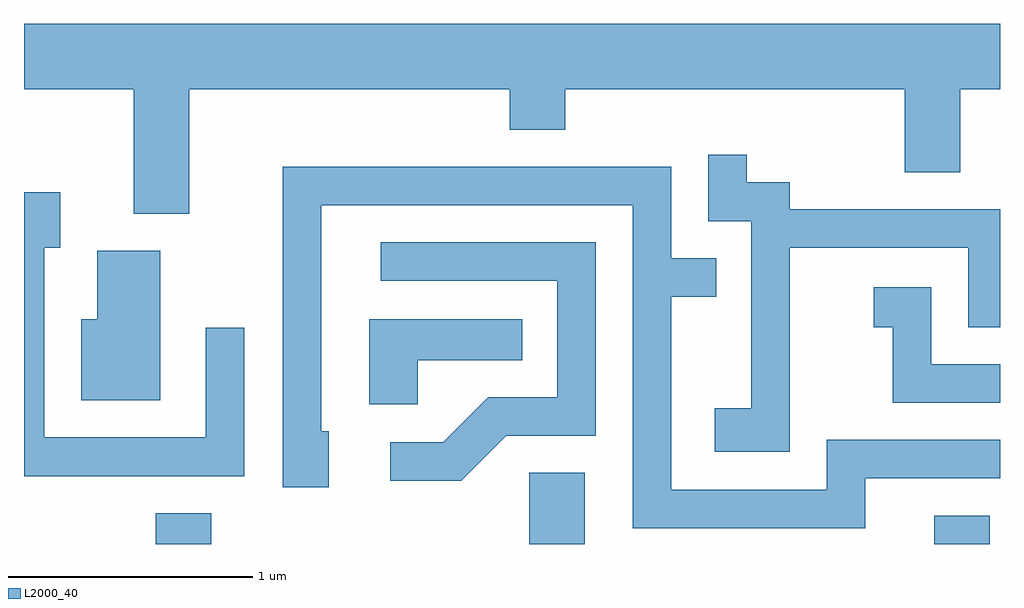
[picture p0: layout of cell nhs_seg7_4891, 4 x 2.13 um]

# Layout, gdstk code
import gdstk
lib = gdstk.Library(unit=1e-6, precision=1e-09)
def R(c, l, rs):  # rectangles x0, y0, x1, y1
    for r in rs: c.add(gdstk.rectangle(r[:2], r[2:], *l))
def P(c, l, *ps):  # polygons
    for p in ps: c.add(gdstk.Polygon(p, *l))
L2000_40 = (2000, 40)

nhs_seg7_4891 = lib.new_cell('nhs_seg7_4891')
R(nhs_seg7_4891, L2000_40, [(336.151,1690.252,336.379,1690.379), (337.681,1690.252,337.909,1690.544), (339.341,1690.252,339.569,1690.369)])
P(nhs_seg7_4891, L2000_40, [(336.289,1692.116),(337.601,1692.116),(337.601,1691.951),(337.829,1691.951),(337.829,1692.116),(339.221,1692.116),(339.221,1691.776),(339.449,1691.776),(339.449,1692.116),(339.611,1692.116),(339.611,1692.384),(335.611,1692.384),(335.611,1692.116),(336.061,1692.116),(336.061,1691.606),(336.289,1691.606)],
  [(338.749,1691.466),(339.481,1691.466),(339.481,1691.141),(339.611,1691.141),(339.611,1691.624),(338.749,1691.624),(338.749,1691.734),(338.574,1691.734),(338.574,1691.848),(338.416,1691.848),(338.416,1691.576),(338.591,1691.576),(338.591,1690.809),(338.441,1690.809),(338.441,1690.631),(338.749,1690.631)],
  [(339.059,1690.521),(339.611,1690.521),(339.611,1690.679),(338.901,1690.679),(338.901,1690.474),(338.264,1690.474),(338.264,1691.266),(338.448,1691.266),(338.448,1691.424),(338.264,1691.424),(338.264,1691.799),(336.671,1691.799),(336.671,1690.486),(336.859,1690.486),(336.859,1690.714),(336.829,1690.714),(336.829,1691.641),(338.106,1691.641),(338.106,1690.316),(339.059,1690.316)],
  [(336.514,1691.138),(336.356,1691.138),(336.356,1690.689),(335.694,1690.689),(335.694,1691.466),(335.759,1691.466),(335.759,1691.694),(335.611,1691.694),(335.611,1690.531),(336.514,1690.531)],
  [(337.587,1690.696),(337.954,1690.696),(337.954,1691.489),(337.073,1691.489),(337.073,1691.331),(337.796,1691.331),(337.796,1690.854),(337.514,1690.854),(337.329,1690.669),(337.113,1690.669),(337.113,1690.511),(337.402,1690.511)],
  [(336.169,1691.454),(335.911,1691.454),(335.911,1691.174),(335.846,1691.174),(335.846,1690.841),(336.169,1690.841)],
  [(339.611,1690.989),(339.329,1690.989),(339.329,1691.304),(339.093,1691.304),(339.093,1691.141),(339.171,1691.141),(339.171,1690.831),(339.611,1690.831)],
  [(337.224,1691.006),(337.653,1691.006),(337.653,1691.174),(337.026,1691.174),(337.026,1690.826),(337.224,1690.826)])

lib.write_gds('nhs_seg7_4891.gds')
